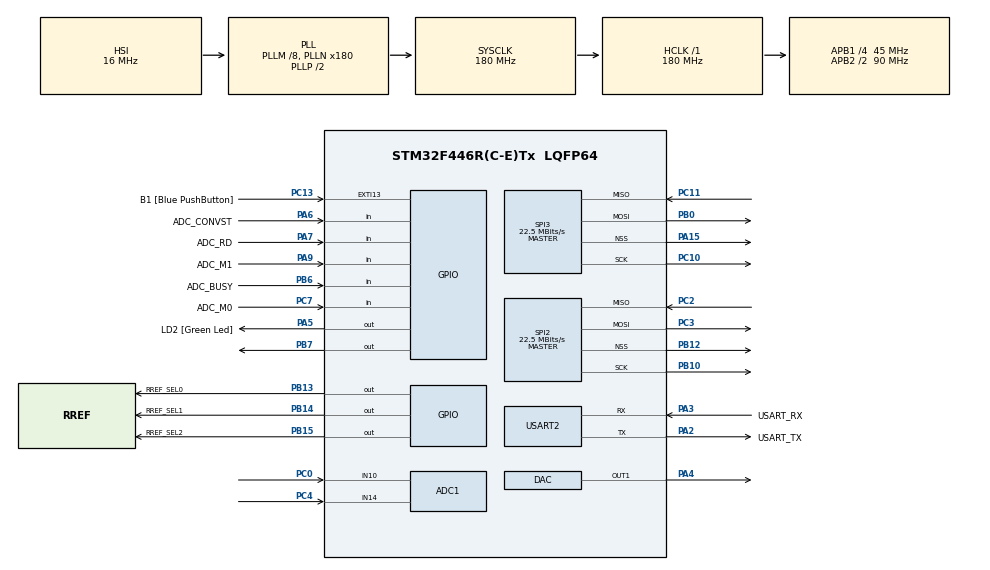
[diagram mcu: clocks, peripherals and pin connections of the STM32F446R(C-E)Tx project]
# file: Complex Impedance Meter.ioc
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ADC1.Channel-7\#ChannelRegularConversion=ADC_CHANNEL_10
ADC1.Channel-8\#ChannelRegularConversion=ADC_CHANNEL_14
ADC1.EOCSelection=ADC_EOC_SEQ_CONV
ADC1.ExternalTrigConv=ADC_EXTERNALTRIGCONV_T2_TRGO
ADC1.NbrOfConversion=2
ADC1.NbrOfConversionFlag=1
ADC1.Rank-7\#ChannelRegularConversion=1
ADC1.Rank-8\#ChannelRegularConversion=2
ADC1.SamplingTime-7\#ChannelRegularConversion=ADC_SAMPLETIME_15CYCLES
ADC1.SamplingTime-8\#ChannelRegularConversion=ADC_SAMPLETIME_15CYCLES
ADC1.ScanConvMode=ENABLE
ADC1.master=1
DAC.DAC_OutputBuffer=DAC_OUTPUTBUFFER_DISABLE
DAC.DAC_Trigger=DAC_TRIGGER_T6_TRGO
Dma.ADC1.1.Direction=DMA_PERIPH_TO_MEMORY
Dma.ADC1.1.FIFOMode=DMA_FIFOMODE_DISABLE
Dma.ADC1.1.Instance=DMA2_Stream0
Dma.ADC1.1.MemDataAlignment=DMA_MDATAALIGN_HALFWORD
Dma.ADC1.1.MemInc=DMA_MINC_ENABLE
Dma.ADC1.1.Mode=DMA_NORMAL
Dma.ADC1.1.PeriphDataAlignment=DMA_PDATAALIGN_HALFWORD
Dma.ADC1.1.PeriphInc=DMA_PINC_DISABLE
Dma.ADC1.1.Priority=DMA_PRIORITY_VERY_HIGH
Dma.DAC1.0.Direction=DMA_MEMORY_TO_PERIPH
Dma.DAC1.0.FIFOMode=DMA_FIFOMODE_DISABLE
Dma.DAC1.0.Instance=DMA1_Stream5
Dma.DAC1.0.MemDataAlignment=DMA_MDATAALIGN_HALFWORD
Dma.DAC1.0.MemInc=DMA_MINC_ENABLE
Dma.DAC1.0.Mode=DMA_CIRCULAR
Dma.DAC1.0.PeriphDataAlignment=DMA_PDATAALIGN_HALFWORD
Dma.DAC1.0.PeriphInc=DMA_PINC_DISABLE
Dma.DAC1.0.Priority=DMA_PRIORITY_HIGH
Dma.Request0=DAC1
Dma.Request1=ADC1
Mcu.Family=STM32F4
Mcu.Name=STM32F446R(C-E)Tx
Mcu.Package=LQFP64
NVIC.DMA1_Stream5_IRQn=true\:0\:0\:false\:false\:true\:false\:true\:true
NVIC.DMA2_Stream0_IRQn=true\:0\:0\:false\:false\:true\:false\:true\:true
NVIC.PriorityGroup=NVIC_PRIORITYGROUP_0
NVIC.USART2_IRQn=true\:0\:0\:false\:false\:true\:true\:true\:true
PA0-WKUP.GPIO_Label=VMEAS2
PA0-WKUP.Signal=ADCx_IN0
PA13.GPIO_Label=TMS
PA13.Mode=Serial_Wire
PA13.Signal=SYS_JTMS-SWDIO
PA14.GPIO_Label=TCK
PA14.Mode=Serial_Wire
PA14.Signal=SYS_JTCK-SWCLK
PA15.Mode=NSS_Signal_Hard_Output
PA15.Signal=SPI3_NSS
PA2.GPIO_Label=USART_TX
PA2.Mode=Asynchronous
PA2.Signal=USART2_TX
PA3.GPIO_Label=USART_RX
PA3.Mode=Asynchronous
PA3.Signal=USART2_RX
PA4.Signal=COMP_DAC1_group
PA5.GPIO_Label=LD2 [Green Led]
PA5.Signal=GPIO_Output
PA6.GPIO_Label=ADC_CONVST
PA6.Signal=GPIO_Input
PA7.GPIO_Label=ADC_RD
PA7.Signal=GPIO_Input
PA9.GPIO_Label=ADC_M1
PA9.Signal=GPIO_Input
PB0.Mode=Full_Duplex_Master
PB0.Signal=SPI3_MOSI
PB10.Mode=Full_Duplex_Master
PB10.Signal=SPI2_SCK
PB12.Mode=NSS_Signal_Hard_Output
PB12.Signal=SPI2_NSS
PB13.GPIO_Label=RREF_SEL0
PB13.Signal=GPIO_Output
PB14.GPIO_Label=RREF_SEL1
PB14.Signal=GPIO_Output
PB15.GPIO_Label=RREF_SEL2
PB15.Signal=GPIO_Output
PB3.GPIO_Label=SWO
PB3.Signal=SYS_JTDO-SWO
PB6.GPIO_Label=ADC_BUSY
PB6.Signal=GPIO_Input
PB7.Signal=GPIO_Output
PC0.Signal=ADCx_IN10
PC10.Mode=Full_Duplex_Master
PC10.Signal=SPI3_SCK
PC11.Mode=Full_Duplex_Master
PC11.Signal=SPI3_MISO
PC13.GPIO_Label=B1 [Blue PushButton]
PC13.GPIO_ModeDefaultEXTI=GPIO_MODE_IT_FALLING
PC13.Signal=GPXTI13
PC14-OSC32_IN.Mode=LSE-External-Oscillator
PC14-OSC32_IN.Signal=RCC_OSC32_IN
PC15-OSC32_OUT.Mode=LSE-External-Oscillator
PC15-OSC32_OUT.Signal=RCC_OSC32_OUT
PC2.Mode=Full_Duplex_Master
PC2.Signal=SPI2_MISO
PC3.Mode=Full_Duplex_Master
PC3.Signal=SPI2_MOSI
PC4.Signal=ADCx_IN14
PC7.GPIO_Label=ADC_M0
PC7.Signal=GPIO_Input
PH0-OSC_IN.Mode=HSE-External-Oscillator
PH0-OSC_IN.Signal=RCC_OSC_IN
PH1-OSC_OUT.Mode=HSE-External-Oscillator
PH1-OSC_OUT.Signal=RCC_OSC_OUT
ProjectManager.HeapSize=0x200
ProjectManager.StackSize=0x400
ProjectManager.TargetToolchain=STM32CubeIDE
RCC.48MHZClocksFreq_Value=84000000
RCC.AHBFreq_Value=180000000
RCC.APB1CLKDivider=RCC_HCLK_DIV4
RCC.APB1Freq_Value=45000000
RCC.APB1TimFreq_Value=90000000
RCC.APB2CLKDivider=RCC_HCLK_DIV2
RCC.APB2Freq_Value=90000000
RCC.APB2TimFreq_Value=180000000
RCC.CortexFreq_Value=180000000
RCC.FLatency-AdvancedSettings=FLASH_LATENCY_5
RCC.HCLKFreq_Value=180000000
RCC.HSE_VALUE=8000000
RCC.HSI_VALUE=16000000
RCC.PLLM=8
RCC.PLLN=180
RCC.SYSCLKFreq_VALUE=180000000
RCC.SYSCLKSource=RCC_SYSCLKSOURCE_PLLCLK
RCC.USBFreq_Value=180000000
RCC.VCOOutputFreq_Value=360000000
SH.ADCx_IN0.0=ADC2_IN0
SH.ADCx_IN0.1=ADC3_IN0
SH.ADCx_IN0.2=ADC1_IN0
SH.ADCx_IN10.0=ADC1_IN10,IN10
SH.ADCx_IN14.0=ADC1_IN14,IN14
SH.COMP_DAC1_group.0=DAC_OUT1,DAC_OUT1
SPI2.CRCCalculation=SPI_CRCCALCULATION_DISABLE
SPI2.CalculateBaudRate=22.5 MBits/s
SPI2.DataSize=SPI_DATASIZE_16BIT
SPI2.Direction=SPI_DIRECTION_2LINES
SPI2.Mode=SPI_MODE_MASTER
SPI2.VirtualNSS=VM_NSSHARD
SPI2.VirtualType=VM_MASTER
SPI3.CalculateBaudRate=22.5 MBits/s
SPI3.Direction=SPI_DIRECTION_2LINES
SPI3.Mode=SPI_MODE_MASTER
SPI3.VirtualNSS=VM_NSSHARD
SPI3.VirtualType=VM_MASTER
TIM2.AutoReloadPreload=TIM_AUTORELOAD_PRELOAD_ENABLE
TIM2.Channel-Output\ Compare1\ No\ Output=TIM_CHANNEL_1
TIM2.Period=44
TIM2.TIM_MasterOutputTrigger=TIM_TRGO_UPDATE
TIM6.AutoReloadPreload=TIM_AUTORELOAD_PRELOAD_ENABLE
TIM6.Period=44
TIM6.TIM_MasterOutputTrigger=TIM_TRGO_UPDATE
USART2.VirtualMode=VM_ASYNC
VP_TIM2_VS_ClockSourceINT.Mode=Internal
VP_TIM2_VS_no_output1.Mode=Output Compare1 No Output
VP_TIM6_VS_ClockSourceINT.Mode=Enable_Timer
board=NUCLEO-F446RE

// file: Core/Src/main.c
/* USER CODE BEGIN Header */
/**
  ******************************************************************************
  * @file           : main.c
  * @brief          : Main program body
  ******************************************************************************
  * @attention
  *
  * Copyright (c) 2025 STMicroelectronics.
  * All rights reserved.
  *
  * This software is licensed under terms that can be found in the LICENSE file
  * in the root directory of this software component.
  * If no LICENSE file comes with this software, it is provided AS-IS.
  *
  ******************************************************************************
  */
/* USER CODE END Header */
#include "main.h"

/* USER CODE BEGIN Includes */
#include "arm_common_tables.h"
#include "arm_const_structs.h"
#include "arm_math.h"
#include "stdio.h"
#include "math.h"
#include "stdbool.h"
#include "relay.h"
#include "sig_gen.h"
#include "stdlib.h"

/* USER CODE END Includes */

/* USER CODE BEGIN PD */
#define NORMAL_MODE
#define DEBUG_MODES
//#define ADC_DAC_DEBUG_MODE
//#define ONBOARD_FSM_MODE
//#define BOARD_DEBUG_MODE
//#define UART_DEBUG_MODE
//#define SWITCHING_RESISTOR_DEBUG_MODE

/* USER CODE END PD */

ADC_HandleTypeDef hadc1;
DMA_HandleTypeDef hdma_adc1;

DAC_HandleTypeDef hdac;
DMA_HandleTypeDef hdma_dac1;

SPI_HandleTypeDef hspi2;
SPI_HandleTypeDef hspi3;

TIM_HandleTypeDef htim2;
TIM_HandleTypeDef htim6;

UART_HandleTypeDef huart2;

/* USER CODE BEGIN PV */
// Communication with the UI
volatile uint8_t cmd_available = 0;
volatile ui_command_t command = idle;
volatile uint16_t param1 = 0;
volatile uint16_t param2 = 0;
volatile uint8_t rx_buffer[RX_CMD_BYTE_NB];
volatile size_t rx_index = 0;

// Measuring and Signal Buffers
uint16_t sine_wave_buffer[DAC_LUT_SIZE];
uint16_t vmeas_buffer[ADC_BUFFER_SIZE];

// System Current Resistor
switching_resistor_t current_resistor;

// Calibration IMPEDANCE values
phasor_t OC_CAL[NFREQUENCIES];
phasor_t SC_CAL[NFREQUENCIES];
phasor_t LD_CAL[NFREQUENCIES];
phasor_t Zstd[NFREQUENCIES];
const double capacitance_std = 10e-9;
const double resistance_std = 3260.0f;
phasor_t phasorZero[NFREQUENCIES];

// Measured Impedance Values
phasor_t Zx_measured[NFREQUENCIES];
uint32_t frequencies_visited[NFREQUENCIES] = {0};

/* USER CODE END PV */

void SystemClock_Config(void);
static void MX_GPIO_Init(void);
static void MX_DMA_Init(void);
static void MX_DAC_Init(void);
static void MX_USART2_UART_Init(void);
static void MX_SPI2_Init(void);
static void MX_SPI3_Init(void);
static void MX_TIM2_Init(void);
static void MX_TIM6_Init(void);
static void MX_ADC1_Init(void);
/* USER CODE BEGIN PFP */
bool buttonPress(void);
uint32_t GetTimXCurrentFrequency(TIM_HandleTypeDef* htim);

// should be in transmits.h but it's being fussy
char* data2str_formatted(phasor_t phasors[], uint32_t freqs[], size_t size);
HAL_StatusTypeDef TransmitPhasor(phasor_t phasor);
HAL_StatusTypeDef TransmitPhasorRaw(phasor_t phasor);
HAL_StatusTypeDef TransmitPhasorLn(phasor_t phasor);

HAL_StatusTypeDef TransmitPhasorDataframe(phasor_t phasors[], uint32_t frequencies_visited[], switching_resistor_t res);
HAL_StatusTypeDef TransmitPhasorSingleUI(uint32_t freq, phasor_t phasor);
HAL_StatusTypeDef TransmitPhasorBufferUI(uint32_t freqs[], phasor_t phasors[]);
HAL_StatusTypeDef TransmitPhasorDataframeUI(uint32_t freqs[], phasor_t phasors[], switching_resistor_t res);

void Process_Command(ui_command_t command_received);

/* USER CODE END PFP */

int main(void)
{

  /* MCU Configuration--------------------------------------------------------*/

  /* Reset of all peripherals, Initializes the Flash interface and the Systick. */
  HAL_Init();

  /* Configure the system clock */
  SystemClock_Config();

  /* USER CODE BEGIN SysInit */

  MX_USART2_UART_Init();
//  TransmitString("\n");

  /* USER CODE END SysInit */

  /* Initialize all configured peripherals */
  MX_GPIO_Init();
  MX_DMA_Init();
  MX_DAC_Init();
  MX_USART2_UART_Init();
  MX_SPI2_Init();
  MX_SPI3_Init();
  MX_TIM2_Init();
  MX_TIM6_Init();
  MX_ADC1_Init();
  /* USER CODE BEGIN 2 */

  long long i = 0;

  // CALCULATE VALUES FOR SINE BUFFER DMA
  Fill_Sine_Buffer();

  // INITIALISE DAC DMA in the previous function

  // ADC DMA INIT in the previous function

#ifdef UART_DEBUG_MODE
  // GET DAC STATE ON STARTUP
  // Expected: BUSY  char msg1[32];
  sprintf(msg1, "Current DAC State: %d", HAL_DAC_GetState(&hdac));
  TransmitStringLn(msg1);

  // GET TIM STATE ON STARTUP
  // Expected: READY
  char msg2[32];
  sprintf(msg2, "Current TIM2 State: %d", HAL_TIMEx_GetChannelNState(&htim2, TIM2_BASE));
  TransmitStringLn(msg2);

  // GET CURRENT FREQUENCY
  char msg3[64];
  sprintf(msg3, "Current TIM2 Freq: %lu", GetTimXCurrentFrequency(&htim2));
  TransmitStringLn(msg3);
#endif

  Sampling_Enable();

  HAL_GPIO_WritePin(LD2_GPIO_Port, LD2_Pin, GPIO_PIN_RESET);

  // assert 0 calibration phasors
  for(size_t i = 0; i < NFREQUENCIES; i++)
  {
	  SC_CAL[i] = (phasor_t) {0,0};
	  OC_CAL[i] = (phasor_t) {1e32,0};
	  LD_CAL[i] = (phasor_t) {0,0};
	  phasorZero[i] = (phasor_t) {0,0};
  }

  // calculate reference impedance
  uint32_t frequencies_wanted[NFREQUENCIES];

  current_resistor = RESISTOR1;
  Set_Resistor_Hardware(RESISTOR0);

  HAL_UART_Receive_IT(&huart2, rx_buffer, RX_CMD_BYTE_NB);

#ifdef BOARD_DEBUG_MODE
  Set_Signal_Frequency(100000);
  Set_Sampling_Frequency(F_SAMPLE);

  Sig_Gen_Enable();
  Set_Signal_Frequency(100e3);
#endif

  /* USER CODE END 2 */

  /* Infinite loop */
  /* USER CODE BEGIN WHILE */
  while (1)
  {
	  i++;
#ifdef NORMAL_MODE

	  if(Command_is_Available())
	  {
		  Process_Command(command);
	  }

#endif /*NORMAL MODE*/

#ifndef NORMAL_MODE
#ifdef ADC_DAC_DEBUG_MODE

	  if(buttonPress())
	  {
		  Sig_Gen_Enable();
		  ADC_SampleSingleShot();
		  Sig_Gen_Disable();
		  Sampling_Disable();

//		  TransmitTwoUInt16Buffer(vmeas_buffer3, vmeas_buffer2, ADC_BUFFER_SIZE);
		  TransmitUInt16Buffer(vmeas_buffer, ADC_BUFFER_SIZE);
//		  HAL_Delay(10);
	  }
	  continue;

#endif

#ifdef BOARD_DEBUG_MODE
	  if(buttonPress())
	  {
		  Sig_Gen_Enable();
	  }

//	  else
//	  {
//		  Sig_Gen_Disable();
//	  }
	  continue;

#endif

#ifdef SWITCHING_RESISTOR_DEBUG_MODE
	  if(buttonPress())
	  {
//		  Set_Resistor_Hardware(RESISTOR3);

		  Choose_Switching_Resistor();

		  TransmitStringLn("DONE!");

		  HAL_Delay(100);

		  HAL_GPIO_WritePin(LD2_GPIO_Port, LD2_Pin, GPIO_PIN_SET);
	  }
//	  else
//	  {
//		  Set_Resistor_Hardware(RESISTOR0);
//		  HAL_GPIO_WritePin(LD2_GPIO_Port, LD2_Pin, GPIO_PIN_RESET);
//	  }
#endif /* SWITCHING_RESISTOR_DEBUG_MODE */
#endif /* NORMAL_MODE */
    /* USER CODE END WHILE */

  }
}

void SystemClock_Config(void)
{
  RCC_OscInitTypeDef RCC_OscInitStruct = {0};
  RCC_ClkInitTypeDef RCC_ClkInitStruct = {0};

  /** Configure the main internal regulator output voltage
  */
  __HAL_RCC_PWR_CLK_ENABLE();
  __HAL_PWR_VOLTAGESCALING_CONFIG(PWR_REGULATOR_VOLTAGE_SCALE1);

  /** Initializes the RCC Oscillators according to the specified parameters
  * in the RCC_OscInitTypeDef structure.
  */
  RCC_OscInitStruct.OscillatorType = RCC_OSCILLATORTYPE_HSI;
  RCC_OscInitStruct.HSIState = RCC_HSI_ON;
  RCC_OscInitStruct.HSICalibrationValue = RCC_HSICALIBRATION_DEFAULT;
  RCC_OscInitStruct.PLL.PLLState = RCC_PLL_ON;
  RCC_OscInitStruct.PLL.PLLSource = RCC_PLLSOURCE_HSI;
  RCC_OscInitStruct.PLL.PLLM = 8;
  RCC_OscInitStruct.PLL.PLLN = 180;
  RCC_OscInitStruct.PLL.PLLP = RCC_PLLP_DIV2;
  RCC_OscInitStruct.PLL.PLLQ = 2;
  RCC_OscInitStruct.PLL.PLLR = 2;
  if (HAL_RCC_OscConfig(&RCC_OscInitStruct) != HAL_OK)
  {
    Error_Handler();
  }

  /** Activate the Over-Drive mode
  */
  if (HAL_PWREx_EnableOverDrive() != HAL_OK)
  {
    Error_Handler();
  }

  /** Initializes the CPU, AHB and APB buses clocks
  */
  RCC_ClkInitStruct.ClockType = RCC_CLOCKTYPE_HCLK|RCC_CLOCKTYPE_SYSCLK
                              |RCC_CLOCKTYPE_PCLK1|RCC_CLOCKTYPE_PCLK2;
  RCC_ClkInitStruct.SYSCLKSource = RCC_SYSCLKSOURCE_PLLCLK;
  RCC_ClkInitStruct.AHBCLKDivider = RCC_SYSCLK_DIV1;
  RCC_ClkInitStruct.APB1CLKDivider = RCC_HCLK_DIV4;
  RCC_ClkInitStruct.APB2CLKDivider = RCC_HCLK_DIV2;

  if (HAL_RCC_ClockConfig(&RCC_ClkInitStruct, FLASH_LATENCY_5) != HAL_OK)
  {
    Error_Handler();
  }
}

static void MX_ADC1_Init(void)
{

  ADC_ChannelConfTypeDef sConfig = {0};

  /** Configure the global features of the ADC (Clock, Resolution, Data Alignment and number of conversion)
  */
  hadc1.Instance = ADC1;
  hadc1.Init.ClockPrescaler = ADC_CLOCK_SYNC_PCLK_DIV4;
  hadc1.Init.Resolution = ADC_RESOLUTION_12B;
  hadc1.Init.ScanConvMode = ENABLE;
  hadc1.Init.ContinuousConvMode = DISABLE;
  hadc1.Init.DiscontinuousConvMode = DISABLE;
  hadc1.Init.ExternalTrigConvEdge = ADC_EXTERNALTRIGCONVEDGE_RISING;
  hadc1.Init.ExternalTrigConv = ADC_EXTERNALTRIGCONV_T2_TRGO;
  hadc1.Init.DataAlign = ADC_DATAALIGN_RIGHT;
  hadc1.Init.NbrOfConversion = 2;
  hadc1.Init.DMAContinuousRequests = DISABLE;
  hadc1.Init.EOCSelection = ADC_EOC_SEQ_CONV;
  if (HAL_ADC_Init(&hadc1) != HAL_OK)
  {
    Error_Handler();
  }

  /** Configure for the selected ADC regular channel its corresponding rank in the sequencer and its sample time.
  */
  sConfig.Channel = ADC_CHANNEL_10;
  sConfig.Rank = 1;
  sConfig.SamplingTime = ADC_SAMPLETIME_15CYCLES;
  if (HAL_ADC_ConfigChannel(&hadc1, &sConfig) != HAL_OK)
  {
    Error_Handler();
  }

  /** Configure for the selected ADC regular channel its corresponding rank in the sequencer and its sample time.
  */
  sConfig.Channel = ADC_CHANNEL_14;
  sConfig.Rank = 2;
  if (HAL_ADC_ConfigChannel(&hadc1, &sConfig) != HAL_OK)
  {
    Error_Handler();
  }

}

static void MX_DAC_Init(void)
{

  DAC_ChannelConfTypeDef sConfig = {0};

  /* USER CODE BEGIN DAC_Init 1 */
#ifdef UART_DEBUG_MODE
  TransmitStringLn("Beginning DAC DMA Init...");
#endif
  /* USER CODE END DAC_Init 1 */

  /** DAC Initialization
  */
  hdac.Instance = DAC;
  if (HAL_DAC_Init(&hdac) != HAL_OK)
  {
    Error_Handler();
  }

  /** DAC channel OUT1 config
  */
  sConfig.DAC_Trigger = DAC_TRIGGER_T6_TRGO;
  sConfig.DAC_OutputBuffer = DAC_OUTPUTBUFFER_ENABLE;
  if (HAL_DAC_ConfigChannel(&hdac, &sConfig, DAC_CHANNEL_1) != HAL_OK)
  {
    Error_Handler();
  }
  /* USER CODE BEGIN DAC_Init 2 */

  if(HAL_DAC_Start_DMA(&hdac, DAC_CHANNEL_1, sine_wave_buffer, DAC_LUT_SIZE, DAC_ALIGN_12B_R) != HAL_OK)
  {
	  TransmitStringLn("ERROR SETTING UP DAC DMA");
  }
  else
  {
#ifdef UART_DEBUG_MODE
	  TransmitStringLn("DAC DMA SUCCESSFULLY INITIALISED");
#endif
  }

  /* USER CODE END DAC_Init 2 */

}

static void MX_SPI2_Init(void)
{

  /* SPI2 parameter configuration*/
  hspi2.Instance = SPI2;
  hspi2.Init.Mode = SPI_MODE_MASTER;
  hspi2.Init.Direction = SPI_DIRECTION_2LINES;
  hspi2.Init.DataSize = SPI_DATASIZE_16BIT;
  hspi2.Init.CLKPolarity = SPI_POLARITY_LOW;
  hspi2.Init.CLKPhase = SPI_PHASE_1EDGE;
  hspi2.Init.NSS = SPI_NSS_HARD_OUTPUT;
  hspi2.Init.BaudRatePrescaler = SPI_BAUDRATEPRESCALER_2;
  hspi2.Init.FirstBit = SPI_FIRSTBIT_MSB;
  hspi2.Init.TIMode = SPI_TIMODE_DISABLE;
  hspi2.Init.CRCCalculation = SPI_CRCCALCULATION_DISABLE;
  hspi2.Init.CRCPolynomial = 10;
  if (HAL_SPI_Init(&hspi2) != HAL_OK)
  {
    Error_Handler();
  }

}

static void MX_SPI3_Init(void)
{

  /* SPI3 parameter configuration*/
  hspi3.Instance = SPI3;
  hspi3.Init.Mode = SPI_MODE_MASTER;
  hspi3.Init.Direction = SPI_DIRECTION_2LINES;
  hspi3.Init.DataSize = SPI_DATASIZE_8BIT;
  hspi3.Init.CLKPolarity = SPI_POLARITY_LOW;
  hspi3.Init.CLKPhase = SPI_PHASE_1EDGE;
  hspi3.Init.NSS = SPI_NSS_HARD_OUTPUT;
  hspi3.Init.BaudRatePrescaler = SPI_BAUDRATEPRESCALER_2;
  hspi3.Init.FirstBit = SPI_FIRSTBIT_MSB;
  hspi3.Init.TIMode = SPI_TIMODE_DISABLE;
  hspi3.Init.CRCCalculation = SPI_CRCCALCULATION_DISABLE;
  hspi3.Init.CRCPolynomial = 10;
  if (HAL_SPI_Init(&hspi3) != HAL_OK)
  {
    Error_Handler();
  }

}

static void MX_TIM2_Init(void)
{

  TIM_ClockConfigTypeDef sClockSourceConfig = {0};
  TIM_MasterConfigTypeDef sMasterConfig = {0};
  TIM_OC_InitTypeDef sConfigOC = {0};

  htim2.Instance = TIM2;
  htim2.Init.Prescaler = 0;
  htim2.Init.CounterMode = TIM_COUNTERMODE_UP;
  htim2.Init.Period = 44;
  htim2.Init.ClockDivision = TIM_CLOCKDIVISION_DIV1;
  htim2.Init.AutoReloadPreload = TIM_AUTORELOAD_PRELOAD_ENABLE;
  if (HAL_TIM_Base_Init(&htim2) != HAL_OK)
  {
    Error_Handler();
  }
  sClockSourceConfig.ClockSource = TIM_CLOCKSOURCE_INTERNAL;
  if (HAL_TIM_ConfigClockSource(&htim2, &sClockSourceConfig) != HAL_OK)
  {
    Error_Handler();
  }
  if (HAL_TIM_OC_Init(&htim2) != HAL_OK)
  {
    Error_Handler();
  }
  sMasterConfig.MasterOutputTrigger = TIM_TRGO_UPDATE;
  sMasterConfig.MasterSlaveMode = TIM_MASTERSLAVEMODE_DISABLE;
  if (HAL_TIMEx_MasterConfigSynchronization(&htim2, &sMasterConfig) != HAL_OK)
  {
    Error_Handler();
  }
  sConfigOC.OCMode = TIM_OCMODE_TIMING;
  sConfigOC.Pulse = 0;
  sConfigOC.OCPolarity = TIM_OCPOLARITY_HIGH;
  sConfigOC.OCFastMode = TIM_OCFAST_DISABLE;
  if (HAL_TIM_OC_ConfigChannel(&htim2, &sConfigOC, TIM_CHANNEL_1) != HAL_OK)
  {
    Error_Handler();
  }
  /* USER CODE BEGIN TIM2_Init 2 */
//    if(HAL_TIM_Base_Start(&htim2) != HAL_OK)
//    {
//  	  TransmitStringLn("TIM2 SUCCESSFULLY INITIALISED");
//    }
//    else
//    {
//  	  TransmitStringLn("ERROR INITIALISING TIM2");
//    }
  /* USER CODE END TIM2_Init 2 */

}

static void MX_TIM6_Init(void)
{

  TIM_MasterConfigTypeDef sMasterConfig = {0};

  htim6.Instance = TIM6;
  htim6.Init.Prescaler = 0;
  htim6.Init.CounterMode = TIM_COUNTERMODE_UP;
  htim6.Init.Period = 44;
  htim6.Init.AutoReloadPreload = TIM_AUTORELOAD_PRELOAD_ENABLE;
  if (HAL_TIM_Base_Init(&htim6) != HAL_OK)
  {
    Error_Handler();
  }
  sMasterConfig.MasterOutputTrigger = TIM_TRGO_UPDATE;
  sMasterConfig.MasterSlaveMode = TIM_MASTERSLAVEMODE_DISABLE;
  if (HAL_TIMEx_MasterConfigSynchronization(&htim6, &sMasterConfig) != HAL_OK)
  {
    Error_Handler();
  }

}

static void MX_USART2_UART_Init(void)
{

  huart2.Instance = USART2;
  huart2.Init.BaudRate = 115200;
  huart2.Init.WordLength = UART_WORDLENGTH_8B;
  huart2.Init.StopBits = UART_STOPBITS_1;
  huart2.Init.Parity = UART_PARITY_NONE;
  huart2.Init.Mode = UART_MODE_TX_RX;
  huart2.Init.HwFlowCtl = UART_HWCONTROL_NONE;
  huart2.Init.OverSampling = UART_OVERSAMPLING_16;
  if (HAL_UART_Init(&huart2) != HAL_OK)
  {
    Error_Handler();
  }

}

static void MX_DMA_Init(void)
{

  /* DMA controller clock enable */
  __HAL_RCC_DMA1_CLK_ENABLE();
  __HAL_RCC_DMA2_CLK_ENABLE();

  /* DMA interrupt init */
  /* DMA1_Stream5_IRQn interrupt configuration */
  HAL_NVIC_SetPriority(DMA1_Stream5_IRQn, 0, 0);
  HAL_NVIC_EnableIRQ(DMA1_Stream5_IRQn);
  /* DMA2_Stream0_IRQn interrupt configuration */
  HAL_NVIC_SetPriority(DMA2_Stream0_IRQn, 0, 0);
  HAL_NVIC_EnableIRQ(DMA2_Stream0_IRQn);

}

static void MX_GPIO_Init(void)
{
  GPIO_InitTypeDef GPIO_InitStruct = {0};

  /* GPIO Ports Clock Enable */
  __HAL_RCC_GPIOC_CLK_ENABLE();
  __HAL_RCC_GPIOH_CLK_ENABLE();
  __HAL_RCC_GPIOA_CLK_ENABLE();
  __HAL_RCC_GPIOB_CLK_ENABLE();

  /*Configure GPIO pin Output Level */
  HAL_GPIO_WritePin(LD2_GPIO_Port, LD2_Pin, GPIO_PIN_RESET);

  /*Configure GPIO pin Output Level */
  HAL_GPIO_WritePin(GPIOB, RREF_SEL0_Pin|RREF_SEL1_Pin|RREF_SEL2_Pin|GPIO_PIN_7, GPIO_PIN_RESET);

  /*Configure GPIO pin : B1_Pin */
  GPIO_InitStruct.Pin = B1_Pin;
  GPIO_InitStruct.Mode = GPIO_MODE_IT_FALLING;
  GPIO_InitStruct.Pull = GPIO_NOPULL;
  HAL_GPIO_Init(B1_GPIO_Port, &GPIO_InitStruct);

  /*Configure GPIO pin : VMEAS2_Pin */
  GPIO_InitStruct.Pin = VMEAS2_Pin;
  GPIO_InitStruct.Mode = GPIO_MODE_ANALOG;
  GPIO_InitStruct.Pull = GPIO_NOPULL;
  HAL_GPIO_Init(GPIOA, &GPIO_InitStruct);

  /*Configure GPIO pin : LD2_Pin */
  GPIO_InitStruct.Pin = LD2_Pin;
  GPIO_InitStruct.Mode = GPIO_MODE_OUTPUT_PP;
  GPIO_InitStruct.Pull = GPIO_NOPULL;
  GPIO_InitStruct.Speed = GPIO_SPEED_FREQ_LOW;
  HAL_GPIO_Init(LD2_GPIO_Port, &GPIO_InitStruct);

  /*Configure GPIO pins : ADC_CONVST_Pin ADC_RD_Pin ADC_M1_Pin */
  GPIO_InitStruct.Pin = ADC_CONVST_Pin|ADC_RD_Pin|ADC_M1_Pin;
  GPIO_InitStruct.Mode = GPIO_MODE_INPUT;
  GPIO_InitStruct.Pull = GPIO_NOPULL;
  HAL_GPIO_Init(GPIOA, &GPIO_InitStruct);

  /*Configure GPIO pins : RREF_SEL0_Pin RREF_SEL1_Pin RREF_SEL2_Pin PB7 */
  GPIO_InitStruct.Pin = RREF_SEL0_Pin|RREF_SEL1_Pin|RREF_SEL2_Pin|GPIO_PIN_7;
  GPIO_InitStruct.Mode = GPIO_MODE_OUTPUT_PP;
  GPIO_InitStruct.Pull = GPIO_NOPULL;
  GPIO_InitStruct.Speed = GPIO_SPEED_FREQ_LOW;
  HAL_GPIO_Init(GPIOB, &GPIO_InitStruct);

  /*Configure GPIO pin : ADC_M0_Pin */
  GPIO_InitStruct.Pin = ADC_M0_Pin;
  GPIO_InitStruct.Mode = GPIO_MODE_INPUT;
  GPIO_InitStruct.Pull = GPIO_NOPULL;
  HAL_GPIO_Init(ADC_M0_GPIO_Port, &GPIO_InitStruct);

  /*Configure GPIO pin : ADC_BUSY_Pin */
  GPIO_InitStruct.Pin = ADC_BUSY_Pin;
  GPIO_InitStruct.Mode = GPIO_MODE_INPUT;
  GPIO_InitStruct.Pull = GPIO_NOPULL;
  HAL_GPIO_Init(ADC_BUSY_GPIO_Port, &GPIO_InitStruct);

/* USER CODE BEGIN MX_GPIO_Init_2 */

//  GPIO_InitStruct.Pin = VMEAS0_Pin;
//  GPIO_InitStruct.Mode = GPIO_MODE_ANALOG;
//  GPIO_InitStruct.Pull = GPIO_PULLDOWN;
//  HAL_GPIO_Init(VMEAS0_GPIO_Port, &GPIO_InitStruct);
//
//  GPIO_InitStruct.Pin = VMEAS1_Pin;
//  GPIO_InitStruct.Mode = GPIO_MODE_ANALOG;
//  GPIO_InitStruct.Pull = GPIO_PULLDOWN;
//  HAL_GPIO_Init(VMEAS1_GPIO_Port, &GPIO_InitStruct);
//
//  GPIO_InitStruct.Pin = VMEAS2_Pin;
//  GPIO_InitStruct.Mode = GPIO_MODE_ANALOG;
//  GPIO_InitStruct.Pull = GPIO_PULLDOWN;
//  HAL_GPIO_Init(VMEAS2_GPIO_Port, &GPIO_InitStruct);
/* USER CODE END MX_GPIO_Init_2 */
}

/* USER CODE BEGIN 4 */

bool buttonPress(void)
{
	return !HAL_GPIO_ReadPin(B1_GPIO_Port, B1_Pin);
}

uint32_t GetTimXCurrentFrequency(TIM_HandleTypeDef* htim)
{
	uint32_t timer_clk = HAL_RCC_GetPCLK1Freq();

	uint32_t psc = __HAL_TIM_GET_ICPRESCALER(htim, TIM6_BASE);
	uint32_t arr = __HAL_TIM_GET_AUTORELOAD(htim);

	// Compute update frequency: f_update = timer_clk / ((PSC+1) * (ARR+1))
	uint32_t f_update = timer_clk / ((psc + 1) * (arr + 1));
	return f_update;
}

char* data2str_formatted(phasor_t phasors[], uint32_t freqs[], size_t size)
{
    // Calculate total length needed (start with "$[]#\0" = 5 bytes)
    size_t length = 5 + 4;
    TransmitStringRaw("1");
    TransmitStringRaw("freqs[0]");
    for (size_t i = 0; i < size * 3; i++) {
        char temp[64];  // Increased buffer size
        int num_len;
        const size_t index = i / 3;

        if (index >= size) break;  // Safety check

        if (i % 3 == 0) {
        	//            num_len = snprintf(temp, sizeof(temp), "%" PRIu32, freqs[index]);
        	num_len = snprintf(temp, sizeof(temp), "%lu", freqs[index]);
        } else if (i % 3 == 1) {
            num_len = snprintf(temp, sizeof(temp), "%.16g", phasors[index].magnitude);
        } else {
            num_len = snprintf(temp, sizeof(temp), "%.16g", phasors[index].phaserad);
        }
        length += num_len + (i > 0 ? 1 : 0);  // Add comma only after first element
    }

    TransmitStringRaw("2");

    // Allocate memory
    char* buffer = malloc(length);

    TransmitStringRaw("3");
    if (!buffer) return NULL;

    // Build the string
    char* ptr = buffer;
    ptr += sprintf(ptr, "fuck$[");

    TransmitStringRaw("4");

    for (size_t i = 0; i < size * 3; i++) {
        const size_t index = i / 3;
        if (index >= size) break;

        if (i > 0) {
            ptr += sprintf(ptr, ",");
        }

        if (i % 3 == 0) {
        	//            ptr += sprintf(ptr, "%" PRIu32, freqs[index]);
        	ptr += sprintf(ptr, "%lu", freqs[index]);
        } else if (i % 3 == 1) {
            ptr += sprintf(ptr, "%.16g", phasors[index].magnitude);
        } else {
            ptr += sprintf(ptr, "%.16g", phasors[index].phaserad);
        }
    }

    TransmitStringRaw("5");

    sprintf(ptr, "]#");

    TransmitStringRaw("6");
    return buffer;
}

HAL_StatusTypeDef TransmitPhasor(phasor_t phasor)
{
	char msg[32];
	sprintf(msg, "Phasor: %.3f, %.3f\r", phasor.magnitude, phasor.phaserad);
	return TransmitString(msg);
}

HAL_StatusTypeDef TransmitPhasorRaw(phasor_t phasor)
{
	char msg[32];
	sprintf(msg, "%e,%e", phasor.magnitude, phasor.phaserad);
	return TransmitStringRaw(msg);
}

HAL_StatusTypeDef TransmitPhasorLn(phasor_t phasor)
{
	char msg[32];
	sprintf(msg, "Phasor: %.3f, %.3f\r\n", phasor.magnitude, phasor.phaserad);
	return TransmitString(msg);
}

HAL_StatusTypeDef TransmitPhasorDataframe(phasor_t phasors[], uint32_t frequencies_visited[], switching_resistor_t res)
{
	for(size_t i = 0; i < NFREQUENCIES; i++)
	{
		TransmitStringRaw("Measurement:Freq "); TransmitUInt32Raw(frequencies_visited[i]); TransmitStringRaw(" ");
		TransmitUInt32Raw(Get_Sampling_Frequency()); TransmitStringRaw(" ");
		TransmitNumRaw((float) res/1000); TransmitStringRaw(" ");

		TransmitPhasorRaw(isnan(phasors[i].magnitude) ? (phasor_t) {0,phasors[i].phaserad} : phasors[i]);
		TransmitStringLn(" ");
		HAL_Delay(1);
	}
	return TransmitStringLn("DONE!");
}

HAL_StatusTypeDef TransmitPhasorSingleUI(uint32_t freq, phasor_t phasor)
{
	char msg[32 + 6 + 2 + 2 + 2 + 2*(6+2)];
	// message len + 6 freq digits + 2 brackets + 2 commas + 2 delimiter flags + 2 doubles + padding extra
	sprintf(msg, "Phasor: [%lu, %.6f, %.6f] $[%lu,%.6f,%.6f]#",
			freq, phasor.magnitude, phasor.phaserad,
			freq, phasor.magnitude, phasor.phaserad);
	return TransmitStringRaw(msg);
}

HAL_StatusTypeDef TransmitPhasorBufferUI(uint32_t freqs[], phasor_t phasors[])
{
	char msg[32 + 6 + 2 + 2 + 2 + 2*(6+2)];
	// message len + 6 freq digits + 2 brackets + 2 commas + 2 delimiter flags + 2 doubles + padding extra
	TransmitStringRaw("Sending Phasor DataFrame (please work) $[");
	for(size_t i = 0; i < NFREQUENCIES-1; i++)
	{
		sprintf(msg, "%lu,%.6f,%.6f,", freqs[i], phasors[i].magnitude, phasors[i].phaserad);
		TransmitStringRaw(msg);
	}
	sprintf(msg, "%lu,%.6f,%.6f", freqs[NFREQUENCIES - 1], phasors[NFREQUENCIES - 1].magnitude, phasors[NFREQUENCIES - 1].phaserad);
	TransmitStringRaw(msg);
	return TransmitStringRaw("]#");
}

HAL_StatusTypeDef TransmitPhasorDataframeUI(uint32_t freqs[], phasor_t phasors[], switching_resistor_t res)
{
	TransmitStringRaw("Sending Phasor DataFrame (please work) bla\n $[");
	for(int i = 0; i < NFREQUENCIES-1; i++)
	{
		HAL_GPIO_TogglePin(LD2_GPIO_Port, LD2_Pin);
		char msg[128];
		snprintf(msg, 128, "%lu,%.4e,%.4e,", freqs[i], phasors[i].magnitude, phasors[i].phaserad);
		TransmitStringRaw(msg);
	}
	char msg[128];
	sprintf(msg, "%lu,%.4e,%.4e", freqs[NFREQUENCIES - 1], phasors[NFREQUENCIES - 1].magnitude, phasors[NFREQUENCIES - 1].phaserad);
	TransmitStringRaw(msg);
	return TransmitStringRaw("]#");
}

void HAL_UART_RxCpltCallback(UART_HandleTypeDef* huart)
{
	if(huart->Instance == USART2)
	{
		cmd_available = 0x01;
		command = rx_buffer[0] << 8 | rx_buffer[1];
		param1 = rx_buffer[2] << 8 | rx_buffer[3];
		param2 = rx_buffer[4] << 8 | rx_buffer[5];

		HAL_UART_Receive_IT(huart, rx_buffer, RX_CMD_BYTE_NB);
	}
}

void Process_Command(ui_command_t command_received)
{
	char msg[128];

	switch(command_received)
	{
	case get_version:
	{
		sprintf(msg, "Current Version: %u.\n$%u#", DEVELOPMENT_VER, DEVELOPMENT_VER);
		TransmitStringRaw(msg);
		break;
	}

	case get_id:
	{
		sprintf(msg, "ID: %d \n$%d#", BOARD_ID, BOARD_ID);
		TransmitStringRaw(msg);
		break;
	}

	case get_clk_divpw:
	{
		uint32_t clk_mhz = (uint32_t) (HAL_RCC_GetHCLKFreq() / 1e6);
		sprintf(msg, "Clock Frequency: %lu \n$%lu#", clk_mhz, clk_mhz);
		TransmitStringRaw(msg);
		break;
	}

	case check_status_3v3:
	case check_status_neg12:
	case check_status_pos12:
	{
		sprintf(msg, "Power Supply Status %d \n$%d#", 1, 1);
		TransmitStringRaw(msg);
		break;
	}

	case rref_get_val:
	{
		double res_ohms = (double) (current_resistor / 1000);
		sprintf(msg, "Current Resistor Value: %f\n$%f#", res_ohms, res_ohms);
		TransmitStringRaw(msg);
	}

	case rref_set_val:
	{
		switching_resistor_t new_res;
		switch(param1) // determine correct switch cases
		{
		case 1:
		{
			new_res = RESISTOR1;
			break;
		}
		case 2:
		{
			new_res = RESISTOR2;
		}
		case 3:
		{
			new_res = RESISTOR3;
			break;
		}
		default:
		{
			new_res = RESISTOR0;
			break;
		}
		}
		current_resistor = new_res;
		Set_Resistor_Hardware(new_res);

		break;
	}

	case start_sc_calib:
	{
		HAL_GPIO_WritePin(LD2_GPIO_Port, LD2_Pin, GPIO_PIN_SET);

		current_resistor = RESISTOR1;
//		Set_Resistor_Hardware(current_resistor);

		Measurement_Routine_Zx_Raw(SC_CAL, current_resistor, frequencies_visited);

		TransmitPhasorDataframeUI(frequencies_visited, SC_CAL, current_resistor); // ? idk if needed

		HAL_GPIO_WritePin(LD2_GPIO_Port, LD2_Pin, GPIO_PIN_RESET);
		break;
	}

	case start_oc_calib:
	{
		HAL_GPIO_WritePin(LD2_GPIO_Port, LD2_Pin, GPIO_PIN_SET);

		current_resistor = RESISTOR1;
//		current_resistor = RESISTOR0; // bc we have no choice for now
//		Set_Resistor_Hardware(current_resistor);

		Measurement_Routine_Zx_Raw(OC_CAL, current_resistor, frequencies_visited);

		TransmitPhasorDataframeUI(frequencies_visited, OC_CAL, current_resistor);

		HAL_GPIO_WritePin(LD2_GPIO_Port, LD2_Pin, GPIO_PIN_RESET);
		break;
	}

	case start_ld_calib:
	{
		HAL_GPIO_WritePin(LD2_GPIO_Port, LD2_Pin, GPIO_PIN_SET);

		current_resistor = RESISTOR1;
//		Set_Resistor_Hardware(current_resistor);

		Measurement_Routine_Zx_Raw(LD_CAL, current_resistor, frequencies_visited);

		TransmitPhasorDataframeUI(frequencies_visited, LD_CAL, current_resistor);

		HAL_GPIO_WritePin(LD2_GPIO_Port, LD2_Pin, GPIO_PIN_RESET);
		break;
	}

	case readout_meas:
	{
		HAL_GPIO_WritePin(LD2_GPIO_Port, LD2_Pin, GPIO_PIN_SET);

//		Choose_Switching_Resistor();

//		Measurement_Routine_Zx_Calibrated(Zx_measured, SC_CAL, OC_CAL, current_resistor, frequencies_visited);
		Measurement_Routine_Zx_Full_Calibrated(Zx_measured, SC_CAL, OC_CAL, LD_CAL, Zstd, current_resistor, frequencies_visited);
//		Measurement_Routine_Zx_Raw(Zx_measured, current_resistor, frequencies_visited);
//		Measurement_Routine_Voltage(Zx_measured, current_resistor, frequencies_visited);

		TransmitPhasorDataframeUI(frequencies_visited, Zx_measured, current_resistor);

		HAL_GPIO_WritePin(LD2_GPIO_Port, LD2_Pin, GPIO_PIN_RESET);
		break;
	}

	case start_rlc_fit:
	{
		TransmitPhasorDataframeUI(frequencies_visited, Zx_measured, current_resistor);
		break;
	}

	case idle:
	{
		break;
	}
	default:
	{
		break;
	}

	}
}

/* USER CODE END 4 */

void Error_Handler(void)
{
  /* USER CODE BEGIN Error_Handler_Debug */
  /* User can add his own implementation to report the HAL error return state */
  __disable_irq();
  while (1)
  {
      // Toggle an LED or do nothing so you can observe that a fault occurred
      HAL_GPIO_TogglePin(LD2_GPIO_Port, LD2_Pin);
      HAL_Delay(100);
      TransmitStringLn("Fatal ERROR! Handled by the Error_Handler...");
  }
  /* USER CODE END Error_Handler_Debug */
}
